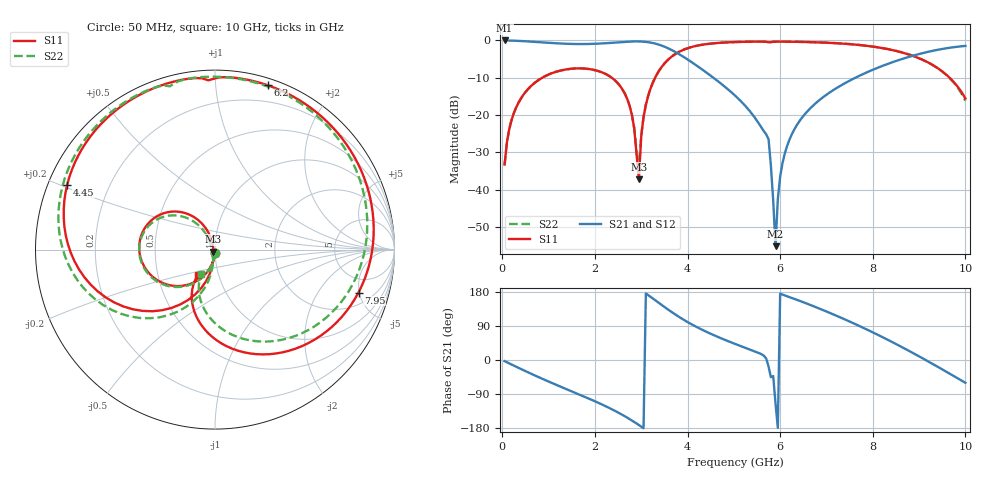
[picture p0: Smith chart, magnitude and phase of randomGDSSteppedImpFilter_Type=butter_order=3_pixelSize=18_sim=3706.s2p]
! freq	dB(S11)	phase(S11)	dB(S12)	phase(S12)
!  dB(S21)	phase(S21)	dB(S22)	phase(S22)
!S-par simulation data
#  GHz  S  DB  R 50
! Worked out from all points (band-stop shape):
!   200 points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, 50 MHz to 10 GHz, reference 50 ohm
!   highest |S21| = -0.01 dB at 50 MHz (marker M1); lowest = -55.1 dB at 5.9 GHz (marker M2)
!   |S21| within 3 dB of the highest: start of sweep to 3.724 GHz; 9.212 GHz to end of sweep
!   lowest |S11| = -37.2 dB at 2.95 GHz (marker M3), VSWR 1.03, Z = 49.1 - j1.06 ohm
!   |S11| at or under -10 dB: start of sweep to 861.3 MHz; 2.364 GHz to 3.3 GHz (935.6 MHz wide, 33 % of centre); 9.659 GHz to end of sweep
!   |S22| runs from -34.1 to -0.3 dB; largest |S21 - S12| = 0
!   S11 on the Smith chart (normalised r, x): 50 MHz: 1.00, -0.04; 4.45 GHz: 0.06, +0.21; 6.2 GHz: 0.06, +1.37; 7.95 GHz: 3.12, -4.91; 10 GHz: 0.80, -0.23
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0.05  -33.26 -93.1  -0.01 -3.0  -0.01 -3.0  -33.26 -93.0
0.2  -21.34 -102.5  -0.05 -11.9  -0.05 -11.9  -21.34 -102.1
0.5  -13.85 -120.3  -0.22 -29.4  -0.22 -29.4  -13.84 -119.4
1.75  -7.51 172.2  -0.97 -95.7  -0.97 -95.7  -7.51 175.7
2.65  -14.36 119.8  -0.37 -148.7  -0.37 -148.7  -14.36 126.6
2.85  -23.68 109.5  -0.27 -163.6  -0.27 -163.6  -23.56 121.2
2.95  -37.24 -128.2  -0.27 -171.6  -0.27 -171.6  -34.07 -137.6
3  -25.75 -99.2  -0.29 -175.8  -0.29 -175.8  -25.37 -101.9
3.1  -17.29 -102.0  -0.39 175.7  -0.39 175.7  -17.21 -99.6
3.4  -7.84 -126.7  -1.20 149.0  -1.20 149.0  -7.82 -121.3
3.95  -2.32 -171.7  -4.68 103.8  -4.68 103.8  -2.31 -164.3
4.45  -0.92 156.3  -8.99 72.0  -8.99 72.0  -0.91 165.3
5.05  -0.42 125.2  -15.05 41.3  -15.05 41.3  -0.42 136.1
5.75  -0.50 92.3  -26.49 -17.5  -26.49 -17.5  -0.50 105.4
5.9  -0.33 86.4  -55.13 -114.8  -55.13 -114.8  -0.32 100.0
6  -0.32 81.6  -36.54 175.2  -36.54 175.2  -0.31 95.6
6.2  -0.34 72.2  -26.61 166.1  -26.61 166.1  -0.33 86.8
6.7  -0.47 48.4  -17.59 142.9  -17.59 142.9  -0.46 64.3
7.95  -1.57 -16.6  -8.13 75.9  -8.13 75.9  -1.54 0.7
8.35  -2.39 -39.3  -6.16 51.7  -6.16 51.7  -2.36 -22.4
9.3  -6.62 -94.7  -2.77 -10.8  -2.77 -10.8  -6.63 -81.5
10  -15.53 -123.7  -1.47 -60.2  -1.47 -60.2  -16.18 -119.2
